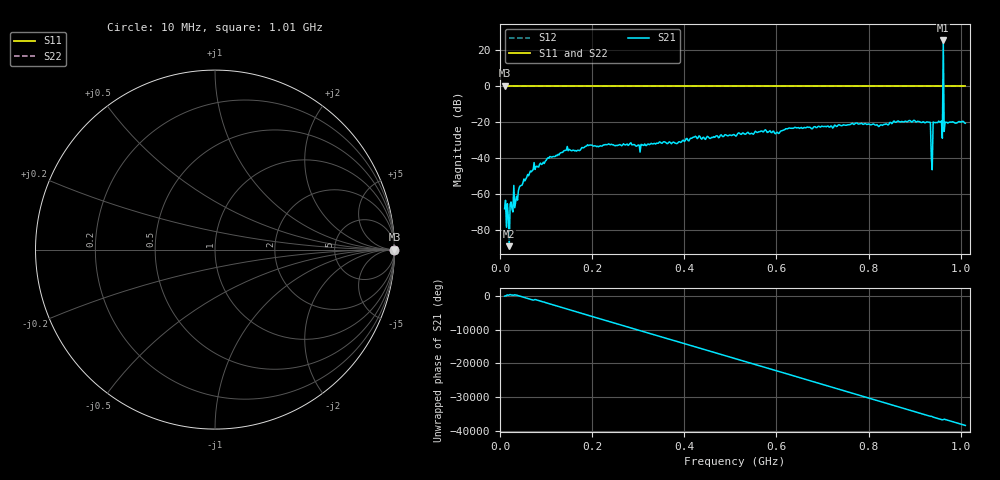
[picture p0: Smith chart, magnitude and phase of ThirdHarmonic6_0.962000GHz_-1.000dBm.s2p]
! 8/16/2025 7:09:23 AM
! C:\ANRITSUVNA\TEMP\TEMP.S2P
! CHANNEL.1
! TR.MEASUREMENT
! RAW.DATA
! RF.CORRECTION.OFF
! AVERAGING.OFF
! IF.BANDWIDTH: 5KHZ
! SWEEPTYPE:  FREQ.SWEEP(Linear)
! Reference Plane Port Info
! PORT:  PORT1  PORT2
! DISTANCE:  0  m  0  m
! TIME:  0  s  0  s
! PHASE.OFFSET:  0  deg.  0  deg.
! LOSS:  0  dB  0  dB
! REF.LOSS:  0  dB  0  dB
! REF.FREQ:  0  Hz  0  Hz
! Power Info
! POWER:  -20  dBm  -20  dBm
! EFF.POWER:  -20  dBm  -20  dBm
! SOURCE.ATTEN:  0  dB  0  dB
! TEST.ATTEN:  0  dB  0  dB
# GHZ S RI R 50.0
! FREQ.GHZ  S11RE  S11IM  S21RE  S21IM  S12RE  S12IM  S22RE  S22IM
!; PortSelection: Port_12
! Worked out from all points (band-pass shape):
!   501 points, 10 MHz to 1.01 GHz, reference 50 ohm
!   highest |S21| = 25.14 dB at 962 MHz (marker M1); lowest = -88.9 dB at 20 MHz (marker M2)
!   |S21| within 3 dB of the highest: 961.8893 MHz to 962.119 MHz (229.7 kHz wide, 0.0239 % of centre)
!   lowest |S11| = 0.0 dB at 10 MHz (marker M3)
!   |S11| at or under -10 dB: nowhere
!   |S22| runs from 0.0 to 0.0 dB; largest |S21 - S12| = 18
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0.01  1 0  9.24e-05 -0.000379  1 0  1 0
0.018  1 0  -0.000196 0.00013  1 0  1 0
0.02  1 0  4.4e-06 -3.56e-05  1 0  1 0
0.036  1 0  -0.000801 -0.000335  1 0  1 0
0.044  1 0  -0.000705 -0.00153  1 0  1 0
0.07  1 0  -0.0018 -0.00411  1 0  1 0
0.142  1 0  -0.0158 -0.00335  1 0  1 0
0.178  1 0  -0.0195 -0.000386  1 0  1 0
0.344  1 0  0.0235 -0.0104  1 0  1 0
0.51  1 0  -0.0338 0.0256  1 0  1 0
0.678  1 0  -0.0499 -0.041  1 0  1 0
0.844  1 0  0.0854 0.0117  1 0  1 0
0.93  1 0  -0.0521 0.0834  1 0  1 0
0.934  1 0  0.0749 -0.0614  1 0  1 0
0.94  1 0  0.0194 0.0976  1 0  1 0
0.944  1 0  0.013 -0.0942  1 0  1 0
0.956  1 0  -0.0929 0.0384  1 0  1 0
0.958  1 0  0.0227 0.1035  1 0  1 0
0.962  1 0  7.182 16.58  1 0  1 0
0.966  1 0  -0.0228 0.0954  1 0  1 0
0.968  1 0  0.0874 0.0418  1 0  1 0
1.01  1 0  -0.0628 0.0666  1 0  1 0
